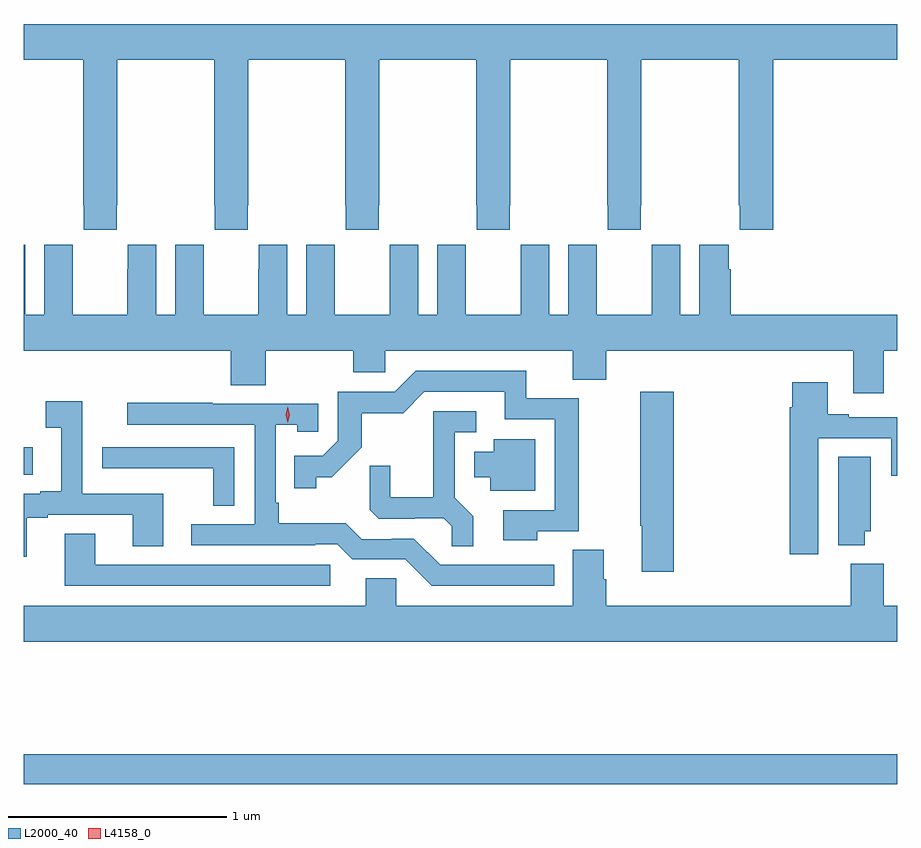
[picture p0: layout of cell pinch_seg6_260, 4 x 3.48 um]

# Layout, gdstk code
import gdstk
lib = gdstk.Library(unit=1e-6, precision=1e-09)
def R(c, l, rs):  # rectangles x0, y0, x1, y1
    for r in rs: c.add(gdstk.rectangle(r[:2], r[2:], *l))
def P(c, l, *ps):  # polygons
    for p in ps: c.add(gdstk.Polygon(p, *l))
L2000_40 = (2000, 40)
L4158_0 = (4158, 0)

pinch_seg6_260 = lib.new_cell('pinch_seg6_260')
R(pinch_seg6_260, L2000_40, [(779.902,985.312,783.902,985.448), (779.902,986.729,779.944,986.853)])
P(pinch_seg6_260, L2000_40, [(780.327,987.961),(780.33,987.961),(780.33,988.628),(780.775,988.628),(780.775,987.961),(780.777,987.961),(780.777,987.849),(780.927,987.849),(780.927,987.961),(780.93,987.961),(780.93,988.628),(781.375,988.628),(781.375,987.961),(781.377,987.961),(781.377,987.849),(781.527,987.849),(781.527,987.961),(781.53,987.961),(781.53,988.628),(781.975,988.628),(781.975,987.961),(781.977,987.961),(781.977,987.849),(782.127,987.849),(782.127,987.961),(782.13,987.961),(782.13,988.628),(782.575,988.628),(782.575,987.961),(782.577,987.961),(782.577,987.849),(782.727,987.849),(782.727,987.961),(782.73,987.961),(782.73,988.628),(783.175,988.628),(783.175,987.961),(783.181,987.961),(783.181,987.849),(783.335,987.849),(783.335,988.628),(783.902,988.628),(783.902,988.792),(779.902,988.792),(779.902,988.628),(780.175,988.628),(780.175,987.961),(780.177,987.961),(780.177,987.849),(780.327,987.849)],
  [(782.396,987.46),(782.308,987.46),(782.308,987.781),(782.178,987.781),(782.178,987.668),(782.177,987.668),(782.177,987.46),(781.927,987.46),(781.927,987.668),(781.926,987.668),(781.926,987.781),(781.796,987.781),(781.796,987.46),(781.708,987.46),(781.708,987.781),(781.578,987.781),(781.578,987.668),(781.577,987.668),(781.577,987.46),(781.327,987.46),(781.327,987.668),(781.326,987.668),(781.326,987.781),(781.196,987.781),(781.196,987.46),(781.108,987.46),(781.108,987.781),(780.978,987.781),(780.978,987.668),(780.977,987.668),(780.977,987.46),(780.727,987.46),(780.727,987.668),(780.726,987.668),(780.726,987.781),(780.596,987.781),(780.596,987.46),(780.508,987.46),(780.508,987.781),(780.378,987.781),(780.378,987.668),(780.377,987.668),(780.377,987.46),(780.127,987.46),(780.127,987.668),(780.126,987.668),(780.126,987.781),(779.996,987.781),(779.996,987.46),(779.908,987.46),(779.908,987.781),(779.902,987.781),(779.902,987.296),(780.851,987.296),(780.851,987.139),(781.011,987.139),(781.011,987.296),(781.411,987.296),(781.411,987.198),(781.557,987.198),(781.557,987.296),(782.417,987.296),(782.417,987.163),(782.57,987.163),(782.57,987.296),(783.701,987.296),(783.701,987.102),(783.841,987.102),(783.841,987.296),(783.902,987.296),(783.902,987.46),(783.14,987.46),(783.14,987.668),(783.13,987.668),(783.13,987.781),(782.996,987.781),(782.996,987.46),(782.908,987.46),(782.908,987.781),(782.778,987.781),(782.778,987.668),(782.777,987.668),(782.777,987.46),(782.527,987.46),(782.527,987.668),(782.526,987.668),(782.526,987.781),(782.396,987.781)],
  [(782.253,986.469),(782.443,986.469),(782.443,987.078),(782.204,987.078),(782.204,987.204),(781.698,987.204),(781.602,987.108),(781.341,987.108),(781.341,986.883),(781.272,986.814),(781.141,986.814),(781.141,986.667),(781.242,986.667),(781.242,986.717),(781.312,986.717),(781.45,986.854),(781.45,987.01),(781.639,987.01),(781.737,987.108),(782.105,987.108),(782.105,986.982),(782.334,986.982),(782.334,986.565),(782.097,986.565),(782.097,986.429),(782.253,986.429)],
  [(783.541,986.895),(783.875,986.895),(783.875,986.724),(783.902,986.724),(783.902,986.991),(783.679,986.991),(783.679,987.004),(783.583,987.004),(783.583,987.151),(783.422,987.151),(783.422,987.038),(783.41,987.038),(783.41,986.364),(783.541,986.364)],
  [(782.879,987.109),(782.725,987.109),(782.725,986.495),(782.732,986.495),(782.732,986.283),(782.879,986.283)],
  [(779.917,986.532),(780.013,986.532),(780.013,986.544),(780.401,986.544),(780.401,986.401),(780.541,986.401),(780.541,986.64),(780.171,986.64),(780.171,987.064),(780.003,987.064),(780.003,986.944),(780.074,986.944),(780.074,986.653),(779.978,986.653),(779.978,986.64),(779.902,986.64),(779.902,986.352),(779.917,986.352)],
  [(782.332,986.316),(781.809,986.316),(781.689,986.436),(781.588,986.436),(781.588,986.433),(781.449,986.433),(781.376,986.506),(781.069,986.506),(781.069,986.599),(781.056,986.599),(781.056,986.957),(781.155,986.957),(781.155,986.925),(781.251,986.925),(781.251,987.054),(780.767,987.054),(780.767,987.057),(780.375,987.057),(780.375,986.958),(780.96,986.958),(780.96,986.502),(780.669,986.502),(780.669,986.406),(781.238,986.406),(781.238,986.409),(781.338,986.409),(781.407,986.34),(781.65,986.34),(781.77,986.22),(782.332,986.22)],
  [(781.961,986.537),(781.875,986.623),(781.875,986.922),(781.975,986.922),(781.975,987.018),(781.778,987.018),(781.778,986.626),(781.58,986.626),(781.58,986.769),(781.486,986.769),(781.486,986.567),(781.527,986.526),(781.692,986.526),(781.692,986.529),(781.826,986.529),(781.863,986.492),(781.863,986.401),(781.961,986.401)],
  [(782.245,986.89),(782.054,986.89),(782.054,986.833),(781.964,986.833),(781.964,986.717),(782.039,986.717),(782.039,986.654),(782.245,986.654)],
  [(780.867,986.853),(780.261,986.853),(780.261,986.758),(780.373,986.758),(780.373,986.757),(780.769,986.757),(780.769,986.587),(780.867,986.587)],
  [(783.754,986.469),(783.781,986.469),(783.781,986.81),(783.632,986.81),(783.632,986.405),(783.754,986.405)],
  [(781.306,986.316),(780.229,986.316),(780.229,986.459),(780.089,986.459),(780.089,986.22),(781.306,986.22)],
  [(783.902,986.128),(783.841,986.128),(783.841,986.32),(783.689,986.32),(783.689,986.128),(782.57,986.128),(782.57,986.25),(782.557,986.25),(782.557,986.384),(782.417,986.384),(782.417,986.128),(781.608,986.128),(781.608,986.255),(781.469,986.255),(781.469,986.128),(779.902,986.128),(779.902,985.964),(783.902,985.964)])
P(pinch_seg6_260, L4158_0, [(781.111,986.967),(781.111,986.967),(781.101,987.003),(781.111,987.038),(781.111,987.039),(781.111,987.038),(781.121,987.003),(781.111,986.967)])

lib.write_gds('pinch_seg6_260.gds')
